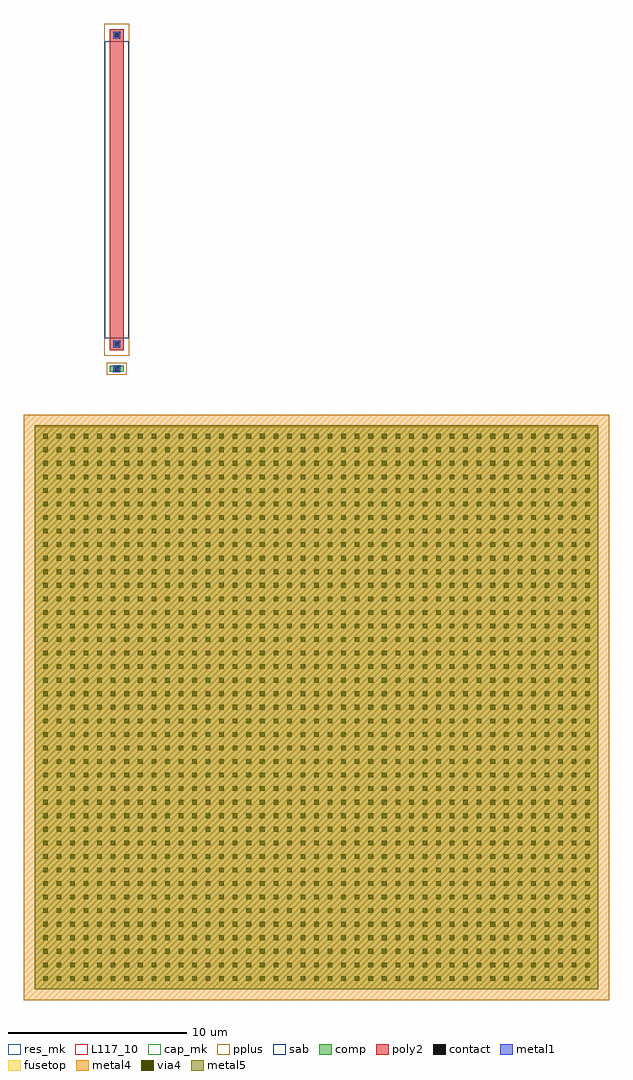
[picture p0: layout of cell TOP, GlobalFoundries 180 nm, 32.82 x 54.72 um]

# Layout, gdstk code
from math import pi, radians
import gdstk
lib = gdstk.Library(unit=1e-6, precision=1e-09)
def R(c, l, rs):  # rectangles x0, y0, x1, y1
    for r in rs: c.add(gdstk.rectangle(r[:2], r[2:], *l))
def A(c, l, x, y, w, h, nx, ny, dx, dy):  # array of equal rectangles
    R(c, l, [(x+i*dx, y+j*dy, x+i*dx+w, y+j*dy+h) for i in range(nx) for j in range(ny)])
comp = (22, 0)
poly2 = (30, 0)
pplus = (31, 0)
contact = (33, 0)
metal1 = (34, 0)
via4 = (41, 0)
metal4 = (46, 0)
sab = (49, 0)
fusetop = (75, 0)
metal5 = (81, 0)
res_mk = (110, 5)
cap_mk = (117, 5)
L117_10 = (117, 10)

cap_mim = lib.new_cell('cap_mim')
A(cap_mim, via4, 0.48, 0.48, 0.26, 0.26, 41, 41, 0.76, 0.76)
R(cap_mim, metal4, [(-0.6,-0.6,32.22,32.22)])
R(cap_mim, fusetop, [(0,0,31.62,31.62)])
R(cap_mim, metal5, [(0,0,31.62,31.62)])
R(cap_mim, cap_mk, [(-0.6,-0.6,32.22,32.22)])
R(cap_mim, L117_10, [(0,0,31.62,0.1)])

ppolyf_u_resistor = lib.new_cell('ppolyf_u_resistor')
R(ppolyf_u_resistor, comp, [(-1.88,0,-1.52,0.8)])
R(ppolyf_u_resistor, poly2, [(-0.66,0,17.33,0.8)])
R(ppolyf_u_resistor, pplus, [(-0.96,-0.3,17.63,1.1), (-2.04,-0.16,-1.36,0.96)])
R(ppolyf_u_resistor, contact, [(-1.81,0.29,-1.59,0.51), (-0.44,0.29,-0.22,0.51), (16.89,0.29,17.11,0.51)])
R(ppolyf_u_resistor, metal1, [(-1.89,0.209,-1.51,0.591), (-0.52,0.209,-0.14,0.591), (16.81,0.209,17.19,0.591)])
R(ppolyf_u_resistor, sab, [(0,-0.28,16.67,1.08)])
R(ppolyf_u_resistor, res_mk, [(0,0,16.67,0.8)])

top = lib.new_cell('TOP')
top.add(gdstk.Reference(cap_mim, (32.6,32.57), rotation=pi))
top.add(gdstk.Reference(ppolyf_u_resistor, (5.99,37.44), rotation=pi/2))

lib.write_gds('TOP.gds')
